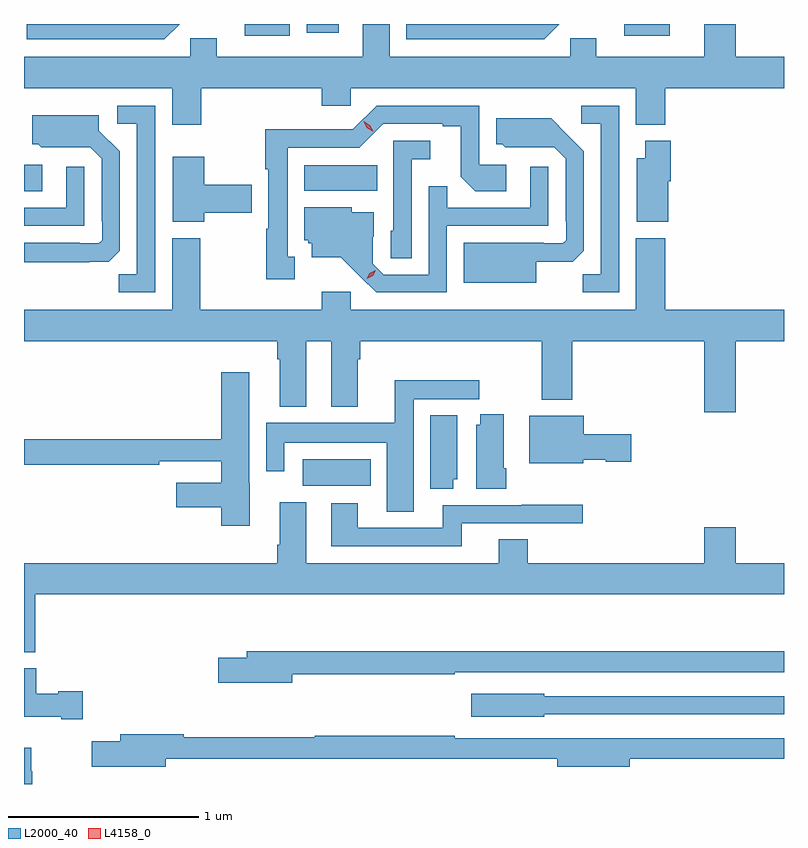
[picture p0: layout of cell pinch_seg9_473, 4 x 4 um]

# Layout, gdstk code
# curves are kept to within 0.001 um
import gdstk
lib = gdstk.Library(unit=1e-6, precision=1e-09)
def R(c, l, rs):  # rectangles x0, y0, x1, y1
    for r in rs: c.add(gdstk.rectangle(r[:2], r[2:], *l))
def P(c, l, *ps):  # polygons
    for p in ps: c.add(gdstk.Polygon(p, *l))
L2000_40 = (2000, 40)
L4158_0 = (4158, 0)

pinch_seg9_473 = lib.new_cell('pinch_seg9_473')
R(pinch_seg9_473, L2000_40, [(294.762,1200.986,295.12,1201.126), (293.295,1202.536,293.392,1202.676), (294.77,1202.54,295.154,1202.674), (294.456,1203.354,294.693,1203.417), (296.454,1203.354,296.693,1203.417), (294.783,1203.372,294.952,1203.417)])
P(pinch_seg9_473, L2000_40, [(294.227,1203.08),(294.863,1203.08),(294.863,1202.987),(295.014,1202.987),(295.014,1203.08),(296.516,1203.08),(296.516,1202.888),(296.669,1202.888),(296.669,1203.08),(297.295,1203.08),(297.295,1203.244),(297.04,1203.244),(297.04,1203.417),(296.876,1203.417),(296.876,1203.244),(296.308,1203.244),(296.308,1203.342),(296.169,1203.342),(296.169,1203.244),(295.219,1203.244),(295.219,1203.417),(295.079,1203.417),(295.079,1203.244),(294.31,1203.244),(294.31,1203.342),(294.171,1203.342),(294.171,1203.244),(293.295,1203.244),(293.295,1203.08),(294.074,1203.08),(294.074,1202.886),(294.227,1202.886)],
  [(294.115,1203.417),(293.31,1203.417),(293.31,1203.336),(294.034,1203.336)],
  [(296.113,1203.417),(295.308,1203.417),(295.308,1203.336),(296.032,1203.336)],
  [(293.985,1202.988),(293.787,1202.988),(293.787,1202.892),(293.889,1202.892),(293.889,1202.099),(293.794,1202.099),(293.794,1202.004),(293.985,1202.004)],
  [(296.427,1202.988),(296.229,1202.988),(296.229,1202.892),(296.331,1202.892),(296.331,1202.099),(296.236,1202.099),(296.236,1202.004),(296.427,1202.004)],
  [(294.721,1202.193),(294.682,1202.193),(294.682,1202.766),(295.059,1202.766),(295.185,1202.892),(295.499,1202.892),(295.499,1202.88),(295.593,1202.88),(295.593,1202.612),(295.669,1202.536),(295.834,1202.536),(295.834,1202.676),(295.692,1202.676),(295.692,1202.988),(295.152,1202.988),(295.026,1202.862),(294.804,1202.862),(294.804,1202.864),(294.564,1202.864),(294.564,1202.653),(294.581,1202.653),(294.581,1202.339),(294.571,1202.339),(294.571,1202.073),(294.721,1202.073)],
  [(293.639,1202.165),(293.74,1202.165),(293.799,1202.224),(293.799,1202.746),(293.689,1202.856),(293.689,1202.938),(293.339,1202.938),(293.339,1202.784),(293.37,1202.784),(293.386,1202.768),(293.643,1202.769),(293.703,1202.709),(293.703,1202.38),(293.706,1202.38),(293.706,1202.28),(293.688,1202.262),(293.588,1202.262),(293.588,1202.265),(293.295,1202.265),(293.295,1202.164)],
  [(295.99,1202.165),(296.182,1202.165),(296.241,1202.224),(296.241,1202.746),(296.069,1202.92),(295.781,1202.92),(295.781,1202.784),(295.812,1202.784),(295.828,1202.768),(296.085,1202.769),(296.145,1202.709),(296.145,1202.38),(296.148,1202.38),(296.148,1202.28),(296.13,1202.262),(296.03,1202.262),(296.03,1202.266),(295.61,1202.266),(295.61,1202.054),(295.99,1202.054)],
  [(296.686,1202.589),(296.699,1202.589),(296.699,1202.803),(296.564,1202.803),(296.564,1202.71),(296.519,1202.71),(296.519,1202.375),(296.686,1202.375)],
  [(295.335,1202.705),(295.432,1202.705),(295.432,1202.802),(295.239,1202.802),(295.239,1202.328),(295.224,1202.328),(295.224,1202.185),(295.335,1202.185)],
  [(294.244,1202.423),(294.493,1202.423),(294.493,1202.57),(294.244,1202.57),(294.244,1202.719),(294.077,1202.719),(294.077,1202.375),(294.244,1202.375)],
  [(293.613,1202.665),(293.517,1202.665),(293.517,1202.451),(293.295,1202.451),(293.295,1202.355),(293.613,1202.355)],
  [(295.521,1202.355),(296.055,1202.355),(296.055,1202.665),(295.959,1202.665),(295.959,1202.451),(295.523,1202.451),(295.523,1202.564),(295.425,1202.564),(295.425,1202.097),(295.188,1202.097),(295.131,1202.154),(295.131,1202.296),(295.135,1202.296),(295.135,1202.425),(295.02,1202.425),(295.02,1202.452),(294.77,1202.452),(294.77,1202.28),(294.792,1202.28),(294.792,1202.262),(294.809,1202.262),(294.809,1202.189),(294.961,1202.189),(295.148,1202.004),(295.521,1202.004)],
  [(297.04,1201.748),(297.295,1201.748),(297.295,1201.912),(296.669,1201.912),(296.669,1202.29),(296.516,1202.29),(296.516,1201.912),(295.014,1201.912),(295.014,1202.008),(294.863,1202.008),(294.863,1201.912),(294.222,1201.912),(294.222,1202.29),(294.074,1202.29),(294.074,1201.912),(293.295,1201.912),(293.295,1201.748),(294.629,1201.748),(294.629,1201.652),(294.641,1201.652),(294.641,1201.403),(294.781,1201.403),(294.781,1201.748),(294.911,1201.748),(294.911,1201.403),(295.051,1201.403),(295.051,1201.652),(295.064,1201.652),(295.064,1201.748),(296.02,1201.748),(296.02,1201.439),(296.18,1201.439),(296.18,1201.748),(296.876,1201.748),(296.876,1201.374),(297.04,1201.374)],
  [(294.484,1200.999),(294.481,1200.999),(294.481,1201.585),(294.332,1201.585),(294.332,1201.232),(293.295,1201.232),(293.295,1201.096),(294.008,1201.096),(294.008,1201.116),(294.332,1201.116),(294.332,1201.003),(294.096,1201.003),(294.096,1200.874),(294.332,1200.874),(294.332,1200.776),(294.484,1200.776)],
  [(295.345,1201.443),(295.69,1201.443),(295.69,1201.541),(295.247,1201.541),(295.247,1201.318),(294.57,1201.318),(294.57,1201.062),(294.666,1201.062),(294.666,1201.214),(295.205,1201.214),(295.205,1200.85),(295.345,1200.85)],
  [(295.832,1201.078),(295.819,1201.078),(295.819,1201.362),(295.697,1201.362),(295.697,1201.308),(295.676,1201.308),(295.676,1200.97),(295.832,1200.97)],
  [(295.555,1201.02),(295.576,1201.02),(295.576,1201.358),(295.433,1201.358),(295.433,1200.97),(295.555,1200.97)],
  [(296.238,1201.124),(296.358,1201.124),(296.358,1201.112),(296.491,1201.112),(296.491,1201.259),(296.242,1201.259),(296.242,1201.354),(295.955,1201.354),(295.955,1201.106),(296.238,1201.106)],
  [(293.354,1200.416),(297.295,1200.416),(297.295,1200.58),(297.04,1200.58),(297.04,1200.769),(296.876,1200.769),(296.876,1200.58),(295.946,1200.58),(295.946,1200.704),(295.793,1200.704),(295.793,1200.58),(294.781,1200.58),(294.781,1200.901),(294.641,1200.901),(294.641,1200.676),(294.629,1200.676),(294.629,1200.58),(293.295,1200.58),(293.295,1200.111),(293.354,1200.111)],
  [(295.598,1200.789),(296.236,1200.789),(296.236,1200.888),(295.915,1200.888),(295.915,1200.885),(295.499,1200.885),(295.499,1200.765),(295.051,1200.765),(295.051,1200.895),(294.911,1200.895),(294.911,1200.669),(295.598,1200.669)],
  [(294.706,1199.994),(295.562,1199.994),(295.562,1200.006),(297.295,1200.006),(297.295,1200.115),(294.467,1200.115),(294.467,1200.081),(294.318,1200.081),(294.318,1199.951),(294.706,1199.951)],
  [(293.605,1199.906),(293.474,1199.906),(293.474,1199.893),(293.359,1199.893),(293.359,1200.025),(293.295,1200.025),(293.295,1199.771),(293.492,1199.771),(293.492,1199.759),(293.605,1199.759)],
  [(296.034,1199.784),(297.295,1199.784),(297.295,1199.88),(296.034,1199.88),(296.034,1199.893),(295.65,1199.893),(295.65,1199.771),(296.034,1199.771)],
  [(294.04,1199.55),(296.102,1199.55),(296.102,1199.507),(296.482,1199.507),(296.482,1199.55),(297.295,1199.55),(297.295,1199.658),(295.562,1199.658),(295.562,1199.671),(294.824,1199.671),(294.824,1199.663),(294.136,1199.663),(294.136,1199.678),(293.801,1199.678),(293.801,1199.642),(293.652,1199.642),(293.652,1199.507),(294.04,1199.507)],
  [(293.339,1199.484),(293.332,1199.484),(293.332,1199.608),(293.295,1199.608),(293.295,1199.417),(293.339,1199.417)])
P(pinch_seg9_473, L4158_0, [(295.1,1202.076),(295.1,1202.076),(295.116,1202.106),(295.146,1202.122),(295.147,1202.122),(295.147,1202.121),(295.13,1202.092),(295.1,1202.076)],
  [(295.131,1202.852),(295.1,1202.871),(295.082,1202.904),(295.082,1202.904),(295.083,1202.904),(295.114,1202.885),(295.132,1202.852),(295.132,1202.852)])

lib.write_gds('pinch_seg9_473.gds')
